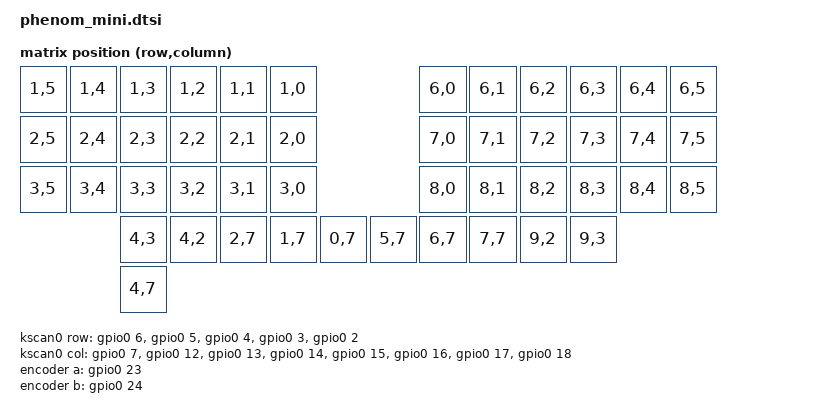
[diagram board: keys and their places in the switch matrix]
#include <dt-bindings/gpio/gpio.h>
#include <dt-bindings/led/led.h>
#include <dt-bindings/zmk/keys.h>
#include <dt-bindings/zmk/matrix_transform.h>
#include <zephyr/dt-bindings/input/input-event-codes.h>

/ {
    chosen {
        zmk,kscan = &kscan0;
        zmk,matrix-transform = &default_transform;
        zmk,underglow = &led_strip;
    };

    default_transform: keymap_transform_0 {
        compatible = "zmk,matrix-transform";
        columns = <8>;
        rows = <10>;
        map = <
            RC(1,5)  RC(1,4)  RC(1,3)  RC(1,2)  RC(1,1)  RC(1,0)                       RC(6,0)  RC(6,1)  RC(6,2)  RC(6,3)  RC(6,4)  RC(6,5)
            RC(2,5)  RC(2,4)  RC(2,3)  RC(2,2)  RC(2,1)  RC(2,0)                       RC(7,0)  RC(7,1)  RC(7,2)  RC(7,3)  RC(7,4)  RC(7,5)
            RC(3,5)  RC(3,4)  RC(3,3)  RC(3,2)  RC(3,1)  RC(3,0)                       RC(8,0)  RC(8,1)  RC(8,2)  RC(8,3)  RC(8,4)  RC(8,5)
                              RC(4,3)  RC(4,2)  RC(2,7)  RC(1,7)  RC(0,7)     RC(5,7)  RC(6,7)  RC(7,7)  RC(9,2)  RC(9,3)
                              RC(4,7)
        >;
    };

    kscan0: kscan {
        compatible = "zmk,kscan-gpio-matrix";
        diode-direction = "col2row";
        wakeup-source;

        // Строки: GP6, GP5, GP4, GP3, GP2
        row-gpios
            = <&gpio0 6 (GPIO_ACTIVE_HIGH | GPIO_PULL_DOWN)>
            , <&gpio0 5 (GPIO_ACTIVE_HIGH | GPIO_PULL_DOWN)>
            , <&gpio0 4 (GPIO_ACTIVE_HIGH | GPIO_PULL_DOWN)>
            , <&gpio0 3 (GPIO_ACTIVE_HIGH | GPIO_PULL_DOWN)>
            , <&gpio0 2 (GPIO_ACTIVE_HIGH | GPIO_PULL_DOWN)>
            ;

        // Колонки: GP7, GP12, GP13, GP14, GP15, GP16, GP17, GP18
        col-gpios
            = <&gpio0 7 GPIO_ACTIVE_HIGH>
            , <&gpio0 12 GPIO_ACTIVE_HIGH>
            , <&gpio0 13 GPIO_ACTIVE_HIGH>
            , <&gpio0 14 GPIO_ACTIVE_HIGH>
            , <&gpio0 15 GPIO_ACTIVE_HIGH>
            , <&gpio0 16 GPIO_ACTIVE_HIGH>
            , <&gpio0 17 GPIO_ACTIVE_HIGH>
            , <&gpio0 18 GPIO_ACTIVE_HIGH>
            ;
    };

    // Энкодер на левой половине: A=GP24, B=GP23
    encoder: encoder {
        compatible = "alps,ec11";
        label = "ENCODER";
        a-gpios = <&gpio0 23 (GPIO_ACTIVE_HIGH | GPIO_PULL_UP)>;
        b-gpios = <&gpio0 24 (GPIO_ACTIVE_HIGH | GPIO_PULL_UP)>;
        steps = <24>;
        status = "disabled";
    };

    sensors {
        compatible = "zmk,keymap-sensors";
        sensors = <&encoder>;
        triggers-per-rotation = <8>;
    };

    /* led_strip определён ниже через &pio0 (PIO SPI + worldsemi,ws2812-spi),
     * DIN = GP25. label и chosen живут в одном parse-юните с overlay-ами,
     * поэтому led_strip не выносится в отдельный boards/rpi_pico.overlay. */

    // Листенер трекбола живёт только на центральной (левой) половине,
    // принимает события от proxy-устройства zmk,input-split.
    trackball_listener: trackball_listener {
        compatible = "zmk,input-listener";
        status = "disabled";
    };

    split_inputs {
        #address-cells = <1>;
        #size-cells = <0>;

        trackball_split: trackball_split@0 {
            compatible = "zmk,input-split";
            reg = <0>;
            status = "disabled";
            device = <&trackball>;
        };
    };

    wired_split: wired_split {
        compatible = "zmk,wired-split";
        device = <&uart0>;
    };
// Трекбол PMW3610 только на правой половине. Распайка повторяет проверенную
    // QMK-прошивку: 3-проводной бит-банг SPI SCLK=GP10, SDIO=GP11, CS=GP9,
    // без пина IRQ/MOTION (сенсор опрашивается в драйвере ergohaven,pmw3610-gpio).
    trackball: trackball {
        status = "disabled";
        compatible = "ergohaven,pmw3610-gpio";
        sclk-gpios = <&gpio0 10 GPIO_ACTIVE_HIGH>;
        sdio-gpios = <&gpio0 11 GPIO_ACTIVE_HIGH>;
        cs-gpios = <&gpio0 9 GPIO_ACTIVE_LOW>;
        cpi = <600>;
        swap-xy;
        invert-x;
        invert-y;
        evt-type = <INPUT_EV_REL>;
        x-input-code = <INPUT_REL_X>;
        y-input-code = <INPUT_REL_Y>;
    };
};

/* USB CDC ACM virtual serial port, used as the logging console when
 * CONFIG_ZMK_USB_LOGGING=y (mirrors the zmk-usb-logging snippet).
 * The TX ring buffer is sized by CONFIG_USB_CDC_ACM_RINGBUF_SIZE
 * (set in phenom_mini.conf), not by this node's tx-fifo-size property. */
&zephyr_udc0 {
    cdc_acm_uart0: cdc_acm_uart0 {
        compatible = "zephyr,cdc-acm-uart";
    };
};

/ {
    chosen {
        zephyr,console = &cdc_acm_uart0;
        zephyr,shell-uart = &cdc_acm_uart0;
    };
};

&pinctrl {
    pio0_spi0_default: pio0_spi0_default {
        group1 {
            /* MOSI (LED DIN) = GP25, CLK = GP20 (свободный на обеих половинах) */
            pinmux = <PIO0_P25>, <PIO0_P20>;
        };
        group2 {
            /* MISO: переиспользуем DIN — OK для WS2812 (master-only, ответ не читается) */
            pinmux = <PIO0_P25>;
            input-enable;
        };
    };
};

&pio0 {
    status = "okay";

    pio0_spi0: pio0_spi0 {
        pinctrl-0 = <&pio0_spi0_default>;
        pinctrl-names = "default";
        compatible = "raspberrypi,pico-spi-pio";
        status = "okay";
        #address-cells = <1>;
        #size-cells = <0>;
        clocks = <&system_clk>;
        clk-gpios = <&gpio0 20 GPIO_ACTIVE_HIGH>;
        mosi-gpios = <&gpio0 25 GPIO_ACTIVE_HIGH>;
        miso-gpios = <&gpio0 25 GPIO_ACTIVE_HIGH>; /* reuse DI — OK per ZMK docs */

        led_strip: ws2812@0 {
            compatible = "worldsemi,ws2812-spi";
            reg = <0>;
            spi-max-frequency = <4000000>;
            spi-one-frame = <0x70>;
            spi-zero-frame = <0x40>;
            chain-length = <1>;
            color-mapping = <LED_COLOR_ID_GREEN
                             LED_COLOR_ID_RED
                             LED_COLOR_ID_BLUE>;
        };
    };
};

&uart0 {
    status = "okay";
    current-speed = <115200>;
};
